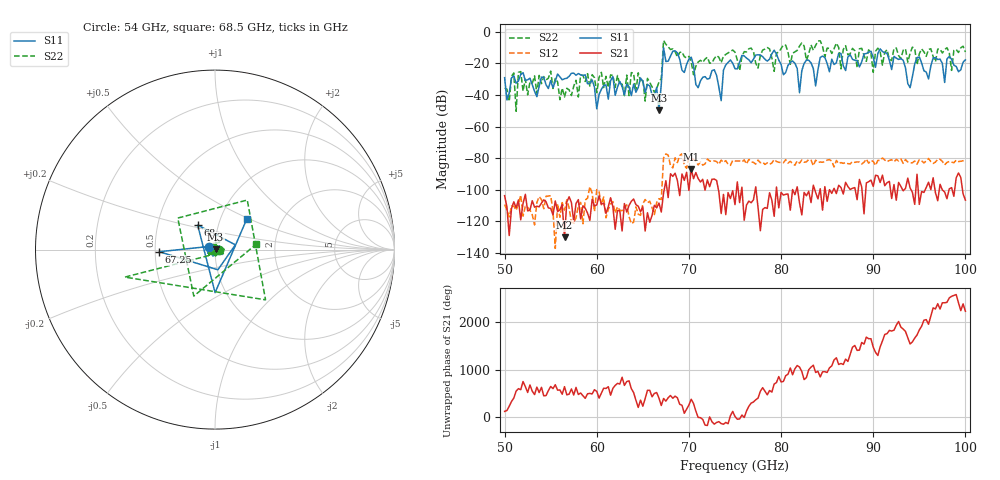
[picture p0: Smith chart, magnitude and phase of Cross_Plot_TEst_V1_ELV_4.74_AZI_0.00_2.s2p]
! 11/25/2026 1:17:34 PM
! C:\ANRITSUVNA\TEMP\TEMP.S2P
! CHANNEL.1
! TR.MEASUREMENT
! RAW.DATA
# HZ S RI R 50.0
! FREQ.HZ  S11RE  S11IM  S21RE  S21IM  S12RE  S12IM  S22RE  S22IM
!; PortSelection: Port_12
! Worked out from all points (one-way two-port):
!   201 points, 50 GHz to 100 GHz, reference 50 ohm
!   highest |S21| = -86.83 dB at 70.25 GHz (marker M1); lowest = -130.0 dB at 56.5 GHz (marker M2)
!   lowest |S11| = -49.8 dB at 66.75 GHz (marker M3), VSWR 1.01, Z = 50.3 + j0.0706 ohm
!   |S11| at or under -10 dB: start of sweep to end of sweep
!   |S22| runs from -50.4 to -5.6 dB; largest |S21 - S12| = 0.00016
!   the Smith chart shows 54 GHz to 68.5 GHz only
!   S11 on the Smith chart (normalised r, x): 54 GHz: 0.93, +0.03; 67.25 GHz: 0.53, -0.01; 68 GHz: 0.80, +0.22; 68.5 GHz: 1.33, +0.49
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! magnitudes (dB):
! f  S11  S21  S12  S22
! 50 GHz  -29.1  -103.7  -109.4  -35.8
! 51 GHz  -27.9  -107.6  -110.2  -26.2
! 51.25 GHz  -32.6  -111.4  -112.9  -50.4
! 51.5 GHz  -31.2  -106.4  -109.0  -25.7
! 54 GHz  -28.7  -108.4  -106.1  -32.9
! 56.5 GHz  -29.8  -130.0  -112.8  -41.3
! 58.5 GHz  -27.7  -110.1  -121.4  -27.7
! 60 GHz  -48.8  -109.5  -99.9  -38.6
! 61.75 GHz  -28.4  -110.7  -107.5  -27.7
! 66.75 GHz  -49.8  -108.4  -105.6  -31.9
! 67.25 GHz  -10.2  -102.0  -79.8  -5.6
! 68 GHz  -15.5  -89.8  -84.7  -11.3
! 68.5 GHz  -12.1  -89.5  -79.7  -12.7
! 70.25 GHz  -16.1  -86.8  -79.9  -19.1
! 73.5 GHz  -43.7  -115.0  -81.2  -19.7
! 73.75 GHz  -24.3  -102.9  -82.7  -15.4
! 75 GHz  -23.5  -109.3  -81.8  -13.0
! 83.5 GHz  -23.4  -97.0  -84.7  -11.8
! 91.75 GHz  -18.1  -94.6  -81.4  -17.6
! 94 GHz  -35.5  -98.8  -83.0  -13.7
! 94.75 GHz  -16.4  -90.1  -83.8  -21.0
! 100 GHz  -17.9  -106.5  -81.0  -12.9
